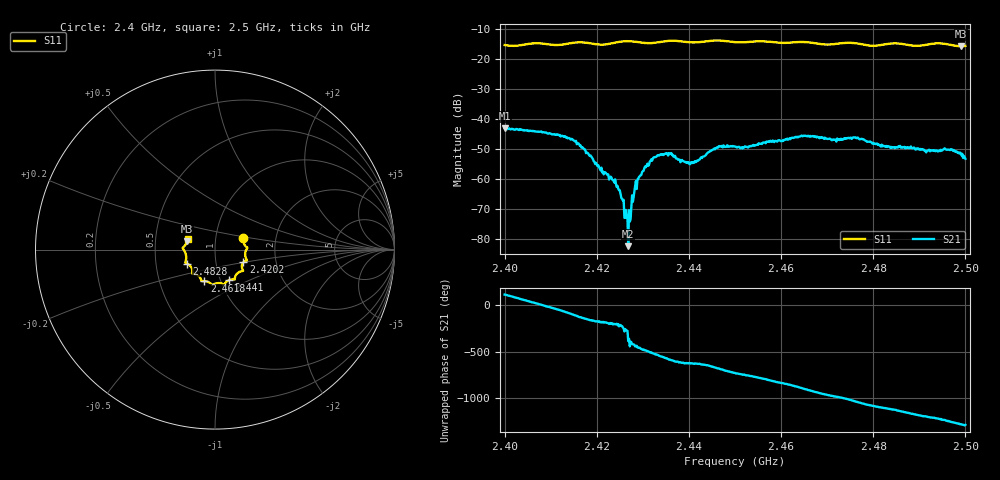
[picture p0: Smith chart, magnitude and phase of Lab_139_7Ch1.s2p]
# Hz S RI R 50
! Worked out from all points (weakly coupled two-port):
!   601 points, 2.4 GHz to 2.5 GHz, reference 50 ohm
!   highest |S21| = -43.13 dB at 2.4 GHz (marker M1); lowest = -82.3 dB at 2.4268 GHz (marker M2)
!   lowest |S11| = -15.8 dB at 2.499 GHz (marker M3), VSWR 1.39, Z = 36.5 + j3.48 ohm
!   |S11| at or under -10 dB: start of sweep to end of sweep
!   S12 and S22 are empty: the file has one direction only
!   S11 on the Smith chart (normalised r, x): 2.4 GHz: 1.36, +0.18; 2.4202 GHz: 1.36, -0.20; 2.441 GHz: 1.10, -0.39; 2.4618 GHz: 0.84, -0.30; 2.4828 GHz: 0.72, -0.12; 2.5 GHz: 0.73, +0.09
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2.4e9  0.1574 0.0628  -0.0027 0.00643  0 0  0 0
2.4115e9  0.1679 -0.0225  0.00363 -0.00408  0 0  0 0
2.416667e9  0.1778 -0.0601  -0.00228 -0.00242  0 0  0 0
2.420167e9  0.1579 -0.0706  -0.00164 -0.000103  0 0  0 0
2.4245e9  0.1533 -0.1104  -0.000622 0.000452  0 0  0 0
2.425333e9  0.1556 -0.1148  -0.00034 0.000341  0 0  0 0
2.426333e9  0.1569 -0.1178  -4.89e-06 0.000306  0 0  0 0
2.426833e9  0.1568 -0.1183  6.84e-05 -3.44e-05  0 0  0 0
2.428833e9  0.147 -0.1202  -8.61e-05 -0.000985  0 0  0 0
2.4305e9  0.1315 -0.1269  -0.000919 -0.00133  0 0  0 0
2.433333e9  0.1122 -0.1511  -0.0025 -7.95e-05  0 0  0 0
2.435667e9  0.1101 -0.1655  -0.00188 0.00193  0 0  0 0
2.441e9  0.0786 -0.1695  -4.31e-05 0.00192  0 0  0 0
2.446333e9  0.0501 -0.1953  0.00257 0.00214  0 0  0 0
2.45e9  0.0285 -0.187  0.00342 -0.000538  0 0  0 0
2.461833e9  -0.0595 -0.1757  -0.00335 -0.00339  0 0  0 0
2.466667e9  -0.0778 -0.168  -0.00476 0.00188  0 0  0 0
2.476167e9  -0.1266 -0.13  0.00357 0.0034  0 0  0 0
2.482833e9  -0.1574 -0.0775  0.00314 -0.00167  0 0  0 0
2.483333e9  -0.1605 -0.0762  0.00296 -0.00191  0 0  0 0
2.499e9  -0.1549 0.0465  -0.00255 0.00085  0 0  0 0
2.5e9  -0.1519 0.0611  -0.00195 0.000947  0 0  0 0
